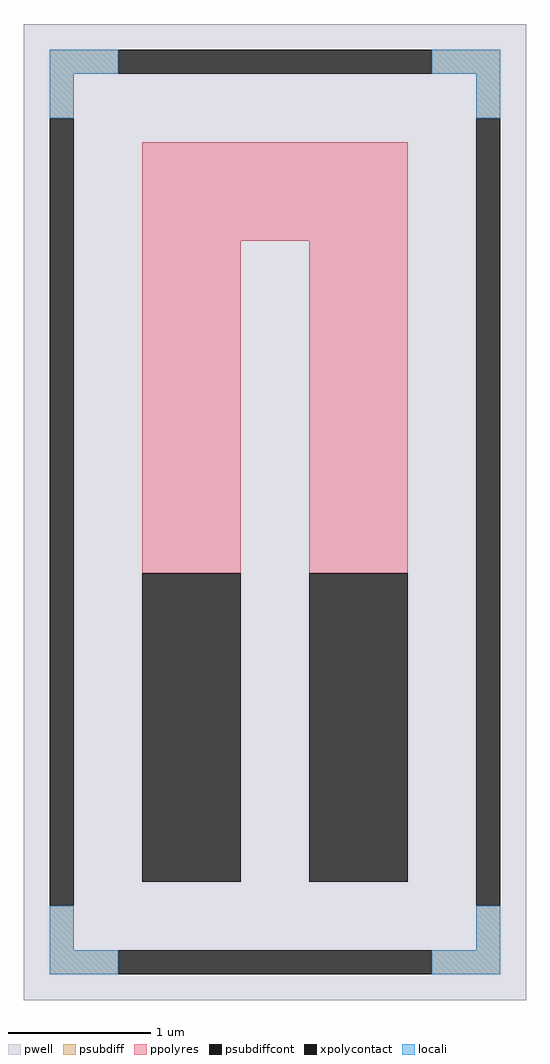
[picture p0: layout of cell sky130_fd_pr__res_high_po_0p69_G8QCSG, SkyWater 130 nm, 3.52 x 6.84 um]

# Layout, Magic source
magic
tech sky130A
<< pwell >>
rect -176 -342 176 342
<< psubdiff >>
rect -158 307 -110 324
rect 110 307 158 324
rect -158 276 -141 307
rect 141 276 158 307
rect -158 -307 -141 -276
rect 141 -307 158 -276
rect -158 -324 -110 -307
rect 110 -324 158 -307
<< psubdiffcont >>
rect -110 307 110 324
rect -158 -276 -141 276
rect 141 -276 158 276
rect -110 -324 110 -307
<< xpolycontact >>
rect -93 -259 -24 -43
rect 24 -259 93 -43
<< ppolyres >>
rect -93 190 93 259
rect -93 -43 -24 190
rect 24 -43 93 190
<< locali >>
rect -158 307 -110 324
rect 110 307 158 324
rect -158 276 -141 307
rect 141 276 158 307
rect -158 -307 -141 -276
rect 141 -307 158 -276
rect -158 -324 -110 -307
rect 110 -324 158 -307
<< properties >>
string FIXED_BBOX -149 -315 149 315
string gencell sky130_fd_pr__res_high_po_0p69
string library sky130
string parameters w 0.69 l 2.5 m 1 nx 2 wmin 0.690 lmin 0.50 rho 319.8 val 3.201k dummy 0 dw 0.0 term 194.82 sterm 0.0 caplen 0 guard 1 glc 1 grc 1 gtc 1 gbc 1 compatible {sky130_fd_pr__res_high_po_0p35  sky130_fd_pr__res_high_po_0p69 sky130_fd_pr__res_high_po_1p41  sky130_fd_pr__res_high_po_2p85 sky130_fd_pr__res_high_po_5p73} snake 1 full_metal 1 wmax 0.690 n_guard 0 hv_guard 0 vias 1 viagb 0 viagt 0 viagl 0 viagr 0
<< end >>
